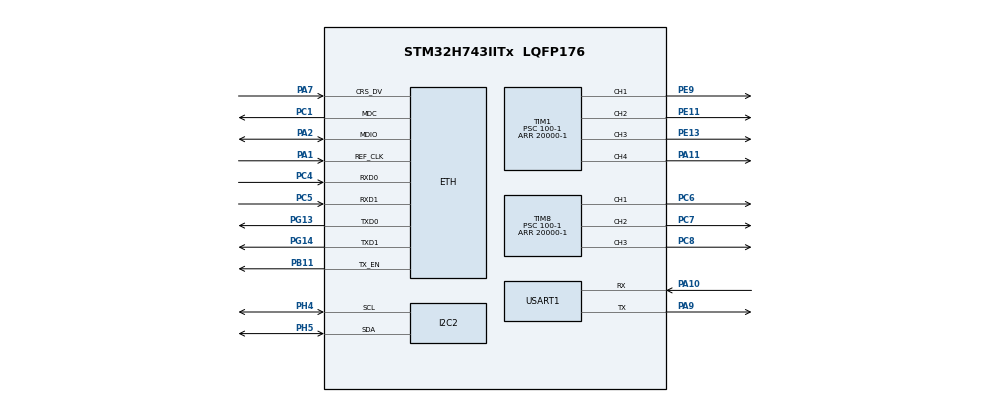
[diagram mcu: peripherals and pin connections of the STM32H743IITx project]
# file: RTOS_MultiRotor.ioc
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CORTEX_M7.BaseAddress_S-Cortex_Memory_Protection_Unit_Region1_Settings_S=0x0
CORTEX_M7.BaseAddress_Spec=0x30000000
CORTEX_M7.CPU_DCache=Enabled
CORTEX_M7.CPU_ICache=Enabled
CORTEX_M7.Enable_S-Cortex_Memory_Protection_Unit_Region1_Settings_S=MPU_REGION_ENABLE
CORTEX_M7.IsShareable_S-Cortex_Memory_Protection_Unit_Region1_Settings_S=MPU_ACCESS_SHAREABLE
CORTEX_M7.Size_S-Cortex_Memory_Protection_Unit_Region1_Settings_S=MPU_REGION_SIZE_32KB
CORTEX_M7.Size_Spec=MPU_REGION_SIZE_256KB
CORTEX_M7.default_mode_Activation=1
ETH.MediaInterface=HAL_ETH_RMII_MODE
FREERTOS.Tasks01=defaultTask,24,512,StartDefaultTask,Default,NULL,Dynamic,NULL,NULL;udpRxTask,24,1024,StartudpRxTask,Default,NULL,Dynamic,NULL,NULL;pwmCtrlTask,40,512,StartpwmCtrlTask,Default,NULL,Dynamic,NULL,NULL
FREERTOS.configTOTAL_HEAP_SIZE=65536
FREERTOS.configUSE_NEWLIB_REENTRANT=1
I2C2.Timing=0x10C0ECFF
LWIP.BSP.number=1
LWIP.GATEWAY_ADDRESS=192.168.001.001
LWIP.IP_ADDRESS=192.168.001.100
LWIP.LWIP_DHCP=0
LWIP.NETMASK_ADDRESS=255.255.255.000
LWIP.Version=v2.1.2_Cube
LWIP0.BSP.STBoard=false
LWIP0.BSP.api=BSP_COMPONENT_DRIVER
LWIP0.BSP.component=LAN8742
LWIP0.BSP.instance=LAN8742
LWIP0.BSP.name=Driver_PHY
LWIP0.BSP.semaphore=S_LAN8742
LWIP0.BSP.solution=LAN8742
Mcu.Family=STM32H7
Mcu.Name=STM32H743IITx
Mcu.Package=LQFP176
NVIC.PriorityGroup=NVIC_PRIORITYGROUP_4
NVIC.TIM6_DAC_IRQn=true\:15\:0\:false\:false\:true\:false\:false\:true\:true
NVIC.TimeBase=TIM6_DAC_IRQn
NVIC.TimeBaseIP=TIM6
PA1.Mode=RMII
PA1.Signal=ETH_REF_CLK
PA10.Mode=Asynchronous
PA10.Signal=USART1_RX
PA11.Signal=S_TIM1_CH4
PA2.Mode=RMII
PA2.Signal=ETH_MDIO
PA7.Mode=RMII
PA7.Signal=ETH_CRS_DV
PA9.Mode=Asynchronous
PA9.Signal=USART1_TX
PB11.Mode=RMII
PB11.Signal=ETH_TX_EN
PC1.Mode=RMII
PC1.Signal=ETH_MDC
PC4.Mode=RMII
PC4.Signal=ETH_RXD0
PC5.Mode=RMII
PC5.Signal=ETH_RXD1
PC6.Signal=S_TIM8_CH1
PC7.Signal=S_TIM8_CH2
PC8.Signal=S_TIM8_CH3
PE11.Signal=S_TIM1_CH2
PE13.Signal=S_TIM1_CH3
PE9.Signal=S_TIM1_CH1
PG13.Mode=RMII
PG13.Signal=ETH_TXD0
PG14.Mode=RMII
PG14.Signal=ETH_TXD1
PH0-OSC_IN\ (PH0).Mode=HSE-External-Oscillator
PH0-OSC_IN\ (PH0).Signal=RCC_OSC_IN
PH1-OSC_OUT\ (PH1).Mode=HSE-External-Oscillator
PH1-OSC_OUT\ (PH1).Signal=RCC_OSC_OUT
PH4.Mode=I2C
PH4.Signal=I2C2_SCL
PH5.Mode=I2C
PH5.Signal=I2C2_SDA
ProjectManager.HeapSize=0x1000
ProjectManager.StackSize=0x1000
ProjectManager.TargetToolchain=STM32CubeIDE
RCC.APB1Freq_Value=100000000
RCC.APB2Freq_Value=100000000
RCC.APB3Freq_Value=100000000
RCC.APB4Freq_Value=100000000
RCC.HCLKFreq_Value=200000000
RCC.HPRE=RCC_HCLK_DIV2
RCC.PLLSourceVirtual=RCC_PLLSOURCE_HSE
RCC.PWR_Regulator_Voltage_Scale=PWR_REGULATOR_VOLTAGE_SCALE1
RCC.SYSCLKSource=RCC_SYSCLKSOURCE_PLLCLK
SH.S_TIM1_CH1.0=TIM1_CH1,PWM Generation1 CH1
SH.S_TIM1_CH2.0=TIM1_CH2,PWM Generation2 CH2
SH.S_TIM1_CH3.0=TIM1_CH3,PWM Generation3 CH3
SH.S_TIM1_CH4.0=TIM1_CH4,PWM Generation4 CH4
SH.S_TIM8_CH1.0=TIM8_CH1,PWM Generation1 CH1
SH.S_TIM8_CH2.0=TIM8_CH2,PWM Generation2 CH2
SH.S_TIM8_CH3.0=TIM8_CH3,PWM Generation3 CH3
TIM1.AutoReloadPreload=TIM_AUTORELOAD_PRELOAD_ENABLE
TIM1.Channel-PWM\ Generation1\ CH1=TIM_CHANNEL_1
TIM1.Channel-PWM\ Generation2\ CH2=TIM_CHANNEL_2
TIM1.Channel-PWM\ Generation3\ CH3=TIM_CHANNEL_3
TIM1.Channel-PWM\ Generation4\ CH4=TIM_CHANNEL_4
TIM1.Period=20000-1
TIM1.Prescaler=100-1
TIM1.Pulse-PWM\ Generation1\ CH1=1500
TIM1.Pulse-PWM\ Generation2\ CH2=1500
TIM1.Pulse-PWM\ Generation3\ CH3=1500
TIM1.Pulse-PWM\ Generation4\ CH4=1500
TIM8.AutoReloadPreload=TIM_AUTORELOAD_PRELOAD_ENABLE
TIM8.Channel-PWM\ Generation1\ CH1=TIM_CHANNEL_1
TIM8.Channel-PWM\ Generation2\ CH2=TIM_CHANNEL_2
TIM8.Channel-PWM\ Generation3\ CH3=TIM_CHANNEL_3
TIM8.Period=20000-1
TIM8.Prescaler=100-1
TIM8.Pulse-PWM\ Generation1\ CH1=1500
TIM8.Pulse-PWM\ Generation2\ CH2=1500
TIM8.Pulse-PWM\ Generation3\ CH3=1500
USART1.VirtualMode-Asynchronous=VM_ASYNC
VP_FREERTOS_VS_CMSIS_V2.Mode=CMSIS_V2
VP_LWIP_VS_Enabled.Mode=Enabled
VP_MEMORYMAP_VS_MEMORYMAP.Mode=CurAppReg
VP_SYS_VS_tim6.Mode=TIM6
VP_TIM1_VS_ClockSourceINT.Mode=Internal
VP_TIM8_VS_ClockSourceINT.Mode=Internal
board=custom

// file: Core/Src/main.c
/* USER CODE BEGIN Header */
/**
  ******************************************************************************
  * @file           : main.c
  * @brief          : Main program body
  ******************************************************************************
  * @attention
  *
  * Copyright (c) 2026 STMicroelectronics.
  * All rights reserved.
  *
  * This software is licensed under terms that can be found in the LICENSE file
  * in the root directory of this software component.
  * If no LICENSE file comes with this software, it is provided AS-IS.
  *
  ******************************************************************************
  */
/* USER CODE END Header */
#include "main.h"
#include "cmsis_os.h"
#include "i2c.h"
#include "lwip.h"
#include "memorymap.h"
#include "tim.h"
#include "usart.h"
#include "gpio.h"

/* USER CODE BEGIN Includes */
#include "pcf8574.h"
/* USER CODE END Includes */

void SystemClock_Config(void);
static void MPU_Config(void);
void MX_FREERTOS_Init(void);

int main(void)
{

  /* MPU Configuration--------------------------------------------------------*/
  MPU_Config();

  /* Enable the CPU Cache */

  /* Enable I-Cache---------------------------------------------------------*/
  SCB_EnableICache();

  /* Enable D-Cache---------------------------------------------------------*/
  SCB_EnableDCache();

  /* MCU Configuration--------------------------------------------------------*/

  /* Reset of all peripherals, Initializes the Flash interface and the Systick. */
  HAL_Init();

  /* Configure the system clock */
  SystemClock_Config();

  /* Initialize all configured peripherals */
  MX_GPIO_Init();
  MX_I2C2_Init();
  MX_TIM1_Init();
  MX_TIM8_Init();
  MX_USART1_UART_Init();
  /* USER CODE BEGIN 2 */
  /* PCF8574 上电默认全高(0xFF)，P0=BEEP 会响；在调度器启动前立刻写一次使其静音 */
  { static PCF8574_Object_t pcf_early;
    int32_t r = PCF8574_Init(&pcf_early, &hi2c2, PCF8574_I2C_ADDR);
    printf("[PCF] Init %s\r\n", r == 0 ? "OK" : "FAIL"); }
  /* YT8512C PLL 锁定并稳定输出 50 MHz REFCLK 约需 70 ms（上电后 RESET# 释放计时）。
   * HAL_ETH_Init 内部等待 ETH_DMAMR_SWR 清零，STM32H7 该位依赖 REFCLK 稳定。
   * 在调度器启动前延时 150 ms，确保 REFCLK 就绪，避免 HAL_ETH_Init 超时失败。 */
  HAL_Delay(300);
  /* USER CODE END 2 */

  /* Init scheduler */
  osKernelInitialize();

  /* Call init function for freertos objects (in cmsis_os2.c) */
  MX_FREERTOS_Init();

  /* Start scheduler */
  osKernelStart();

  /* We should never get here as control is now taken by the scheduler */

  /* Infinite loop */
  while (1)
  {

  }
}

void SystemClock_Config(void)
{
  RCC_OscInitTypeDef RCC_OscInitStruct = {0};
  RCC_ClkInitTypeDef RCC_ClkInitStruct = {0};

  /** Supply configuration update enable
  */
  HAL_PWREx_ConfigSupply(PWR_LDO_SUPPLY);

  /** Configure the main internal regulator output voltage
  */
  __HAL_PWR_VOLTAGESCALING_CONFIG(PWR_REGULATOR_VOLTAGE_SCALE1);

  while(!__HAL_PWR_GET_FLAG(PWR_FLAG_VOSRDY)) {}

  /** Initializes the RCC Oscillators according to the specified parameters
  * in the RCC_OscInitTypeDef structure.
  */
  RCC_OscInitStruct.OscillatorType = RCC_OSCILLATORTYPE_HSE;
  RCC_OscInitStruct.HSEState = RCC_HSE_ON;
  RCC_OscInitStruct.PLL.PLLState = RCC_PLL_ON;
  RCC_OscInitStruct.PLL.PLLSource = RCC_PLLSOURCE_HSE;
  RCC_OscInitStruct.PLL.PLLM = 32;
  RCC_OscInitStruct.PLL.PLLN = 129;
  RCC_OscInitStruct.PLL.PLLP = 2;
  RCC_OscInitStruct.PLL.PLLQ = 2;
  RCC_OscInitStruct.PLL.PLLR = 2;
  RCC_OscInitStruct.PLL.PLLRGE = RCC_PLL1VCIRANGE_3;
  RCC_OscInitStruct.PLL.PLLVCOSEL = RCC_PLL1VCOWIDE;
  RCC_OscInitStruct.PLL.PLLFRACN = 0;
  if (HAL_RCC_OscConfig(&RCC_OscInitStruct) != HAL_OK)
  {
    Error_Handler();
  }

  /** Initializes the CPU, AHB and APB buses clocks
  */
  RCC_ClkInitStruct.ClockType = RCC_CLOCKTYPE_HCLK|RCC_CLOCKTYPE_SYSCLK
                              |RCC_CLOCKTYPE_PCLK1|RCC_CLOCKTYPE_PCLK2
                              |RCC_CLOCKTYPE_D3PCLK1|RCC_CLOCKTYPE_D1PCLK1;
  RCC_ClkInitStruct.SYSCLKSource = RCC_SYSCLKSOURCE_PLLCLK;
  RCC_ClkInitStruct.SYSCLKDivider = RCC_SYSCLK_DIV1;
  RCC_ClkInitStruct.AHBCLKDivider = RCC_HCLK_DIV2;
  RCC_ClkInitStruct.APB3CLKDivider = RCC_APB3_DIV1;
  RCC_ClkInitStruct.APB1CLKDivider = RCC_APB1_DIV1;
  RCC_ClkInitStruct.APB2CLKDivider = RCC_APB2_DIV1;
  RCC_ClkInitStruct.APB4CLKDivider = RCC_APB4_DIV1;

  if (HAL_RCC_ClockConfig(&RCC_ClkInitStruct, FLASH_LATENCY_2) != HAL_OK)
  {
    Error_Handler();
  }
}

 /* MPU Configuration */

void MPU_Config(void)
{
  MPU_Region_InitTypeDef MPU_InitStruct = {0};

  /* Disables the MPU */
  HAL_MPU_Disable();

  /** Initializes and configures the Region and the memory to be protected
  */
  /* RAM_D2 (0x30000000, 256 KB): ETH DMA descriptors + RX pool live here.
   * TEX=1,C=0,B=0,S=1 = Normal non-cacheable shareable — safe for CPU+DMA shared access. */
  MPU_InitStruct.Enable = MPU_REGION_ENABLE;
  MPU_InitStruct.Number = MPU_REGION_NUMBER0;
  MPU_InitStruct.BaseAddress = 0x30000000;
  MPU_InitStruct.Size = MPU_REGION_SIZE_256KB;
  MPU_InitStruct.SubRegionDisable = 0x00;
  MPU_InitStruct.TypeExtField = MPU_TEX_LEVEL1;
  MPU_InitStruct.AccessPermission = MPU_REGION_FULL_ACCESS;
  MPU_InitStruct.DisableExec = MPU_INSTRUCTION_ACCESS_DISABLE;
  MPU_InitStruct.IsShareable = MPU_ACCESS_SHAREABLE;
  MPU_InitStruct.IsCacheable = MPU_ACCESS_NOT_CACHEABLE;
  MPU_InitStruct.IsBufferable = MPU_ACCESS_NOT_BUFFERABLE;

  HAL_MPU_ConfigRegion(&MPU_InitStruct);

  /** Initializes and configures the Region and the memory to be protected
  */
  MPU_InitStruct.Number = MPU_REGION_NUMBER1;
  MPU_InitStruct.BaseAddress = 0x0;
  MPU_InitStruct.Size = MPU_REGION_SIZE_32KB;
  MPU_InitStruct.SubRegionDisable = 0x0;
  MPU_InitStruct.DisableExec = MPU_INSTRUCTION_ACCESS_ENABLE;

  HAL_MPU_ConfigRegion(&MPU_InitStruct);
  /* Enables the MPU */
  HAL_MPU_Enable(MPU_PRIVILEGED_DEFAULT);

}

void HAL_TIM_PeriodElapsedCallback(TIM_HandleTypeDef *htim)
{
  if (htim->Instance == TIM6) {
    HAL_IncTick();
  }
}

void Error_Handler(void)
{
  __disable_irq();
  while (1)
  {
  }
}

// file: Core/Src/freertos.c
/* USER CODE BEGIN Header */
/**
  ******************************************************************************
  * File Name          : freertos.c
  * Description        : Code for freertos applications
  ******************************************************************************
  * @attention
  *
  * Copyright (c) 2026 STMicroelectronics.
  * All rights reserved.
  *
  * This software is licensed under terms that can be found in the LICENSE file
  * in the root directory of this software component.
  * If no LICENSE file comes with this software, it is provided AS-IS.
  *
  ******************************************************************************
  */
/* USER CODE END Header */

#include "FreeRTOS.h"
#include "task.h"
#include "main.h"
#include "cmsis_os.h"

/* USER CODE BEGIN Includes */
#include <stdio.h>
#include <string.h>
#include "pwm_ctrl.h"
#include "usart.h"
#include "lwip.h"
#include "lwip/netif.h"
#include "lwip/sockets.h"
#include "wec_sim_packet.h"
extern struct netif gnetif;
volatile uint32_t g_eth_rx_irq_count = 0;  /* incremented in RxCpltCallback */

/* Stack overflow hook: bypass mutex/printf (kernel state is already trashed),
 * raw-poll UART so the task name reaches the console before we halt. */
void vApplicationStackOverflowHook(TaskHandle_t xTask, char *pcTaskName)
{
    (void)xTask;
    const char *prefix = "\r\n*** STACK OVERFLOW: ";
    HAL_UART_Transmit(&huart1, (uint8_t *)prefix, (uint16_t)strlen(prefix), 100);
    HAL_UART_Transmit(&huart1, (uint8_t *)pcTaskName,
                      (uint16_t)strlen(pcTaskName), 100);
    HAL_UART_Transmit(&huart1, (uint8_t *)" ***\r\n", 6, 100);
    __disable_irq();
    for (;;) {}
}
/* USER CODE END Includes */

/* USER CODE BEGIN PM */
/* Thread-safe printf: serialises all UART output through a single mutex.
 * HAL_UART_Transmit is NOT re-entrant; calling it from two tasks concurrently
 * corrupts huart1.gState and causes UART_WaitOnFlagUntilTimeout to spin
 * forever (especially with HAL_MAX_DELAY). */
#define LOG(...)  do {                                      \
    osMutexAcquire(g_uart_mutex, osWaitForever);            \
    printf(__VA_ARGS__);                                    \
    osMutexRelease(g_uart_mutex);                           \
} while (0)
/* USER CODE END PM */

/* USER CODE BEGIN Variables */
osMutexId_t g_uart_mutex;   /* extern'd in lwip.c */
/* USER CODE END Variables */
/* Definitions for defaultTask */
osThreadId_t defaultTaskHandle;
const osThreadAttr_t defaultTask_attributes = {
  .name = "defaultTask",
  .stack_size = 512 * 4,
  .priority = (osPriority_t) osPriorityNormal,
};
/* Definitions for udpRxTask */
osThreadId_t udpRxTaskHandle;
const osThreadAttr_t udpRxTask_attributes = {
  .name = "udpRxTask",
  .stack_size = 2048 * 4,   /* 8 KB: printf with 6 doubles (newlib full) needs ~3 KB stack */
  .priority = (osPriority_t) osPriorityNormal,
};
/* Definitions for pwmCtrlTask */
osThreadId_t pwmCtrlTaskHandle;
const osThreadAttr_t pwmCtrlTask_attributes = {
  .name = "pwmCtrlTask",
  .stack_size = 512 * 4,
  .priority = (osPriority_t) osPriorityHigh,
};

void StartDefaultTask(void *argument);
void StartudpRxTask(void *argument);
void StartpwmCtrlTask(void *argument);

extern void MX_LWIP_Init(void);
void MX_FREERTOS_Init(void); /* (MISRA C 2004 rule 8.1) */

void MX_FREERTOS_Init(void) {

  /* USER CODE BEGIN RTOS_MUTEX */
  g_uart_mutex = osMutexNew(NULL);
  /* USER CODE END RTOS_MUTEX */

  /* Create the thread(s) */
  /* creation of defaultTask */
  defaultTaskHandle = osThreadNew(StartDefaultTask, NULL, &defaultTask_attributes);

  /* creation of udpRxTask */
  udpRxTaskHandle = osThreadNew(StartudpRxTask, NULL, &udpRxTask_attributes);

  /* creation of pwmCtrlTask */
  pwmCtrlTaskHandle = osThreadNew(StartpwmCtrlTask, NULL, &pwmCtrlTask_attributes);

}

void StartDefaultTask(void *argument)
{
  /* init code for LWIP */
  MX_LWIP_Init();
  /* USER CODE BEGIN StartDefaultTask */
  /* Wait up to 5 s for Ethernet link (ethernet_link_thread polls PHY every 100 ms) */
  for (int i = 0; i < 50; i++) {
      if (netif_is_link_up(&gnetif)) break;
      osDelay(100);
  }

  if (netif_is_link_up(&gnetif))
      LOG("[ETH] Link UP  IP=%s\r\n", ip4addr_ntoa(netif_ip4_addr(&gnetif)));
  else
      LOG("[ETH] Link DOWN after 5 s\r\n");

  for(;;)
  {
    LOG("[ETH] RxIRQ=%lu\r\n", g_eth_rx_irq_count);
    osDelay(2000);
  }
  /* USER CODE END StartDefaultTask */
}

void StartudpRxTask(void *argument)
{
  /* USER CODE BEGIN StartudpRxTask */
  int sock;
  struct sockaddr_in local, remote;
  socklen_t remote_len = sizeof(remote);
  WecSimPacket_t pkt;
  int rxlen;
  uint32_t last_seq = 0;

  /* 创建 UDP socket */
  sock = socket(AF_INET, SOCK_DGRAM, IPPROTO_UDP);
  if (sock < 0) {
      LOG("[UDP] socket() failed\r\n");
      vTaskDelete(NULL);
      return;
  }

  /* 绑定到 0.0.0.0:8080 */
  memset(&local, 0, sizeof(local));
  local.sin_family      = AF_INET;
  local.sin_addr.s_addr = INADDR_ANY;
  local.sin_port        = htons(WEC_SIM_UDP_PORT);

  if (bind(sock, (struct sockaddr *)&local, sizeof(local)) < 0) {
      LOG("[UDP] bind() failed\r\n");
      close(sock);
      vTaskDelete(NULL);
      return;
  }

  /* 设置接收超时：防止 recvfrom 在网络异常时永久阻塞 */
  struct timeval tv = { .tv_sec = 2, .tv_usec = 0 };
  setsockopt(sock, SOL_SOCKET, SO_RCVTIMEO, &tv, sizeof(tv));

  LOG("[UDP] Listening on port %u\r\n", WEC_SIM_UDP_PORT);

  for (;;) {
      rxlen = recvfrom(sock, &pkt, sizeof(pkt), 0,
                       (struct sockaddr *)&remote, &remote_len);

      /* recvfrom 超时或错误（errno=EAGAIN/ETIMEDOUT）：静默继续，不 printf 防止 mutex 争用 */
      if (rxlen < 0) {
          continue;
      }

      /* 长度校验 */
      if (rxlen != (int)sizeof(pkt)) {
          LOG("[UDP] Bad len=%d (expect %u)\r\n", rxlen, WEC_SIM_PACKET_SIZE);
          continue;
      }

      /* 丢包检测 */
      if (pkt.seq != last_seq + 1 && last_seq != 0)
          LOG("[UDP] Drop! expect seq=%lu got %lu\r\n",
                 (unsigned long)(last_seq + 1), (unsigned long)pkt.seq);
      last_seq = pkt.seq;

      /* 打印 6-DOF 载荷（整数格式：避免 %f 触发 dtoa 占用 ~3 KB 栈） */
      LOG("[UDP] seq=%-6lu  F=(%d %d %d) N   M=(%d %d %d) Nm\r\n",
             (unsigned long)pkt.seq,
             (int)pkt.fx, (int)pkt.fy, (int)pkt.fz,
             (int)pkt.mx, (int)pkt.my, (int)pkt.mz);
  }
  /* USER CODE END StartudpRxTask */
}

void StartpwmCtrlTask(void *argument)
{
  /* USER CODE BEGIN StartpwmCtrlTask */
  /* Verify TIM1 config before starting PWM — expected: PSC=99 ARR=19999 CCR1=1500 */
  LOG("[PWM] TIM1 PSC=%lu  ARR=%lu  CCR1=%lu\r\n",
      TIM1->PSC, TIM1->ARR, TIM1->CCR1);

  PWM_Init();
  LOG("[PWM] Init done - 7 channels active\r\n");
  PWM_ArmESC();   /* 输出 1500 µs 中性油门，等待 ESC 解锁 */
  LOG("[PWM] ESC armed\r\n");

  /* ── 扫频验证：给示波器一个可观测的变化波形 ──────────────────── */
  LOG("[PWM] Sweep start: 1000->2000->1500 us\r\n");
  uint16_t sweep[PWM_MOTOR_COUNT];
  for (uint16_t p = 1000; p <= 2000; p += 10) {
      for (int j = 0; j < PWM_MOTOR_COUNT; j++) sweep[j] = p;
      PWM_SetAll(sweep);
      osDelay(20);
  }
  for (uint16_t p = 2000; p >= 1000; p -= 10) {
      for (int j = 0; j < PWM_MOTOR_COUNT; j++) sweep[j] = p;
      PWM_SetAll(sweep);
      osDelay(20);
  }
  for (int j = 0; j < PWM_MOTOR_COUNT; j++) sweep[j] = PWM_PULSE_NEUTRAL_US;
  PWM_SetAll(sweep);
  LOG("[PWM] Sweep done -- back to neutral 1500 us\r\n");
  /* ────────────────────────────────────────────────────────────── */

  /* 控制循环：等待逆运动学结果（Queue 待实现），更新 7 路脉宽 */
  for(;;)
  {
    /* TODO: xQueueReceive(xLoadQueue, &load, portMAX_DELAY);
     *       inverse_kinematics(&load, pulses);
     *       PWM_SetAll(pulses);
     */
    osDelay(20);  /* 占位：50 Hz 节拍，待 Queue 实现后替换 */
  }
  /* USER CODE END StartpwmCtrlTask */
}
